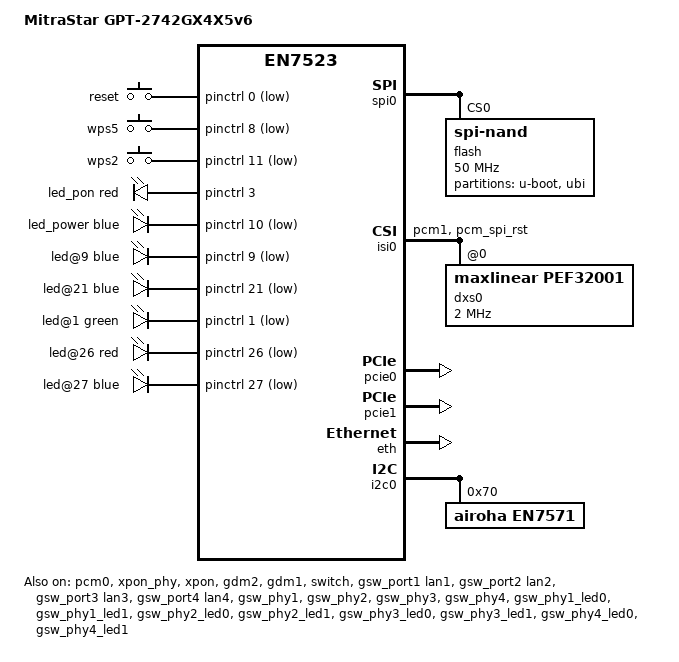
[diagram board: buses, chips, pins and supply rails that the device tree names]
/* SPDX-License-Identifier: GPL-2.0-or-later OR MIT */
/dts-v1/;

#include <dt-bindings/leds/common.h>
#include <dt-bindings/gpio/gpio.h>
#include <dt-bindings/input/input.h>
#include "en7523.dtsi"

/ {
	model = "MitraStar GPT-2742GX4X5v6";
	compatible = "mitrastar,gpt-2742gx4x5v6", "airoha,en7523";

	chosen {
		rootdisk = <&firmware>;
		bootargs = "console=ttyS0,115200 earlycon ubi.block=0,fit root=/dev/fit0 rootwait";
		stdout-path = "serial0:115200n8";
	};

	aliases {
		serial0 = &uart1;
		led-boot = &led_power;
		led-failsafe = &led_pon;
		led-upgrade = &led_pon;
		led-running = &led_power;
	};

	keys {
		compatible = "gpio-keys";

		reset {
			label = "reset";
			linux,code = <KEY_RESTART>;
			gpios = <&pinctrl 0 GPIO_ACTIVE_LOW>;
			debounce-interval = <60>;
		};

		wps5 {
			label = "wps5";
			linux,code = <KEY_WPS_BUTTON>;
			gpios = <&pinctrl 8 GPIO_ACTIVE_LOW>;
			debounce-interval = <60>;
		};

		wps2 {
			label = "wps2";
			linux,code = <KEY_WPS_BUTTON>;
			gpios = <&pinctrl 11 GPIO_ACTIVE_LOW>;
			debounce-interval = <60>;
		};
	};

	leds {
		compatible = "gpio-leds";

		// red:internet
		led_pon: led@3 {
			function = LED_FUNCTION_WAN_ONLINE;
			function-enumerator = <3>;
			color = <LED_COLOR_ID_RED>;
			gpios = <&pinctrl 3 GPIO_ACTIVE_HIGH>;
		};

		// blue:internet
		led_power: led@10 {
			function = LED_FUNCTION_WAN_ONLINE;
			function-enumerator = <10>;
			color = <LED_COLOR_ID_BLUE>;
			gpios = <&pinctrl 10 GPIO_ACTIVE_LOW>;
		};

		// blue:wlan-2g
		led@9 {
			function = LED_FUNCTION_WLAN_2GHZ;
			function-enumerator = <9>;
			color = <LED_COLOR_ID_BLUE>;
			gpios = <&pinctrl 9 GPIO_ACTIVE_LOW>;
		};

		// blue:wlan-5g
		led@21 {
			function = LED_FUNCTION_WLAN_5GHZ;
			function-enumerator = <21>;
			color = <LED_COLOR_ID_BLUE>;
			gpios = <&pinctrl 21 GPIO_ACTIVE_LOW>;
		};

		// green:fxs
		led@1 {
			function = LED_FUNCTION_ACTIVITY;
			function-enumerator = <1>;
			color = <LED_COLOR_ID_GREEN>;
			gpios = <&pinctrl 1 GPIO_ACTIVE_LOW>;
		};

		// red:fxs
		led@26 {
			function = LED_FUNCTION_ACTIVITY;
			function-enumerator = <26>;
			color = <LED_COLOR_ID_RED>;
			gpios = <&pinctrl 26 GPIO_ACTIVE_LOW>;
		};

		// blue:fxs
		led@27 {
			function = LED_FUNCTION_ACTIVITY;
			function-enumerator = <27>;
			color = <LED_COLOR_ID_BLUE>;
			gpios = <&pinctrl 27 GPIO_ACTIVE_LOW>;
		};
	};

	dxs_fxs: dxs-fxs {
		compatible = "airoha,en75xx-dxs-fxs";
		maxlinear,slic = <&dxs0>;
		airoha,pcm = <&pcm0>;
		airoha,pcm-channels = <0>;
		/* PCLK selector 3 in the existing SoC PCM control = 2.048 MHz.
		 * Edges/bit offsets follow the OEM IntelSlicInit (DXS viewpoint).
		 */
		clock-frequency = <2048000>;
		maxlinear,pcm-tx-edge = <0>;
		maxlinear,pcm-rx-edge = <1>;
		maxlinear,pcm-tx-offset = <7>;
		maxlinear,pcm-rx-offset = <1>;
		/* Register access test only; no firmware/BBD download or linefeed. */
		airoha,bringup-mode = "identify";
		firmware-name = "airoha-voice/DXS_FW_mitrastar.bin";
		maxlinear,bbd-firmware = "airoha-voice/DXS_BBD.bin";
		maxlinear,dcdc-topology = "CIBB12";
	};
};

/*
Old maping NAND
0x000000000000-0x000000080000 : "bootloader"
0x000000080000-0x0000000c0000 : "romfile"
0x0000000c0000-0x000005ac0000 : "tclinux"
0x000005ac0000-0x00000b4c0000 : "tclinux_slave"
0x00000b4c0000-0x00000b500000 : "second_romfile"
0x00000b500000-0x00000c200000 : "data"
0x00000c200000-0x00000eb80000 : "app"
0x00000eb80000-0x00000edc0000 : "reservearea_backup" => art (0x240000)
0x00000edc0000-0x00000f000000 : "reservearea"

New Maping:
	0x00000000-0x00100000 : BL1 + FIP (BL2 + BL31 + BL33)
	0x00100000-           : UBI (uboot env{1,2} + ART (misc part) + fit (firmware))
*/
&spi0 {
	flash@0 {
		compatible = "spi-nand";
		reg = <0>;
		spi-max-frequency = <50000000>;

		partitions {
			compatible = "fixed-partitions";
			#address-cells = <1>;
			#size-cells = <1>;

			partition@0 {
				label = "u-boot";
				reg = <0x000000 0x100000>;
				read-only;
			};

			partition@100000 {
				label = "ubi";
				compatible = "linux,ubi";
				reg = <0x100000 0x000000>;

				volumes {
					ubi-volume-ubootenv {
						volname = "ubootenv";
						nvmem-layout {
							compatible = "u-boot,env-redundant-bool";
							env-size = <0x4000>;
						};
					};

					ubi-volume-ubootenv2 {
						volname = "ubootenv2";
						nvmem-layout {
							compatible = "u-boot,env-redundant-bool";
							env-size = <0x4000>;

							macaddr: ethaddr {
								#nvmem-cell-cells = <1>;
							};
						};
					};

					ubi-volume-art {
						volname = "art";
						read-only;

						nvmem-layout {
							compatible = "fixed-layout";
							#address-cells = <1>;
							#size-cells = <1>;

							mt76_eeprom_2g: eeprom@0 {
								reg = <0x000000 0x1000>;
							};

							mt76_eeprom_5g: eeprom@20000 {
								reg = <0x020000 0x1000>;
							};

							en7571_bob: bob@140477 {
								reg = <0x140477 0x200>;
							};
						};
					};

					firmware: ubi-volume-firmware {
						volname = "fit";
						compatible = "denx,uimage";
					};
				};
			};
		};
	};
};

/* DXS uses CSI over the PCM wrapper; the SoC nodes already exist. */
&pinctrl {
	mitra_dxs_csi_pins: mitra-dxs-csi-pins {
		/* OEM CSI, devNum=1: PCM1 plus the dedicated reset pad.
		 * Do not request PCM2/GPIO4..7, used by all four swpX_led1.
		 */
		bus-mux {
			function = "pcm";
			groups = "pcm1";
		};
		reset-mux {
			function = "pcm_spi";
			groups = "pcm_spi_rst";
		};
	};
};

&pcm0 {
	/* CSI owns the shared pins. Do not select the default pcm1 state. */
	/delete-property/ pinctrl-names;
	/delete-property/ pinctrl-0;

	airoha,dma-channel-mask = <0x01>;
	/* OEM: DXS RX byte slot 3, TX byte slot 4 -> SoC TX/RX 24/32 bits. */
	airoha,tx-slot-config = <0x10301018 0x10501040 0x10701060 0x10901080>;
	airoha,rx-slot-config = <0x10301020 0x10501040 0x10701060 0x10901080>;
	status = "okay";
};

&zsi0 {
	status = "disabled";
};

&isi0 {
	compatible = "airoha,en7523-csi-spi";
	/* Polling, one chip: do not claim INT or the optional CS1 pads.
	 * INT overlaps the PON LED; CS1 overlaps the power LED in this pinctrl.
	 */
	pinctrl-0 = <&mitra_dxs_csi_pins>;
	status = "okay";

	dxs0: slic@0 {
		compatible = "maxlinear,pef32001";
		reg = <0>;
		spi-max-frequency = <2000000>;
		spi-cpol;
		spi-cpha;
		/* No reset GPIO/polarity inferred from the OEM logical GPIO IDs. */
		reset-interval-ms = <10>;
	};
};

&pcie0 {
	status = "okay";

	pcie@0,0 {
		reg = <0x00000000 0 0 0 0>;
		#address-cells = <3>;
		#size-cells = <2>;

		mt7915@0,0 {
			reg = <0x0000 0 0 0 0>;
			#address-cells = <1>;
			#size-cells = <0>;
			nvmem-cells = <&mt76_eeprom_2g>;
			nvmem-cell-names = "eeprom";
			airoha,npu = <&npu>;
			airoha,eth = <&eth>;

			/* 2.4Ghz */
			band@0 {
				reg = <0>;
				nvmem-cells = <&macaddr 0>;
				nvmem-cell-names = "mac-address";
			};
		};
	};
};

&pcie1 {
	status = "okay";

	pcie@1,0 {
		reg = <0x00000800 0 0 0 0>;
		#address-cells = <3>;
		#size-cells = <2>;

		/* 5Ghz */
		mt7915@0,0 {
			reg = <0x0000 0 0 0 0>;
			#address-cells = <1>;
			#size-cells = <0>;
			nvmem-cells = <&mt76_eeprom_5g>;
			nvmem-cell-names = "eeprom";
			airoha,npu = <&npu>;
			airoha,eth = <&eth>;

			band@0 {
				reg = <0>;
				nvmem-cells = <&macaddr 2>;
				nvmem-cell-names = "mac-address";
			};
		};
	};
};

&eth {
	status = "okay";
};

&i2c0 {
	status = "okay";

	en7571: lddla@70 {
		compatible = "airoha,en7571";
		reg = <0x70>;

		nvmem-cells = <&en7571_bob>;
		nvmem-cell-names = "calibration";

		#optical-frontend-cells = <0>;
	};
};

&xpon_phy {
	status = "okay";
};

&xpon {
	status = "okay";
	airoha,gpon-serial-from-mac;
	omci-vendor-id = "MSTC";

	optical-frontends = <&en7571>;
	optical-frontend-names = "pon";
};

&gdm2 {
	status = "okay";
	phy-mode = "internal";

	nvmem-cells = <&macaddr 0>;
	nvmem-cell-names = "mac-address";

	/delete-property/ pcs-handle;

	airoha,xpon-managed;
	openwrt,netdev-name = "pon0";
};

&gdm1 {
	status = "okay";
	nvmem-cells = <&macaddr 0>;
	nvmem-cell-names = "mac-address";
};

&switch {
	status = "okay";
};

&gsw_port1 {
	label = "lan1";
	status = "okay";
};

&gsw_port2 {
	label = "lan2";
	status = "okay";
};

&gsw_port3 {
	label = "lan3";
	status = "okay";
};

&gsw_port4 {
	label = "lan4";
	status = "okay";
};

&gsw_port6 {
	nvmem-cells = <&macaddr 0>;
	nvmem-cell-names = "mac-address";
};

&gsw_phy1 {
	status = "okay";
};

&gsw_phy2 {
	status = "okay";
};

&gsw_phy3 {
	status = "okay";
};

&gsw_phy4 {
	status = "okay";
};

&gsw_phy1_led0 {
	status = "okay";
	color = <LED_COLOR_ID_GREEN>;
};

&gsw_phy1_led1 {
	status = "okay";
	color = <LED_COLOR_ID_YELLOW>;
};

&gsw_phy2_led0 {
	status = "okay";
	color = <LED_COLOR_ID_GREEN>;
};

&gsw_phy2_led1 {
	status = "okay";
	color = <LED_COLOR_ID_YELLOW>;
};

&gsw_phy3_led0 {
	status = "okay";
	color = <LED_COLOR_ID_GREEN>;
};

&gsw_phy3_led1 {
	status = "okay";
	color = <LED_COLOR_ID_YELLOW>;
};

&gsw_phy4_led0 {
	status = "okay";
	color = <LED_COLOR_ID_GREEN>;
};

&gsw_phy4_led1 {
	status = "okay";
	color = <LED_COLOR_ID_YELLOW>;
};

&swp1_led0 {
	mux {
		pins = "gpio25";
	};
};

&swp2_led0 {
	mux {
		pins = "gpio24";
	};
};

&swp3_led0 {
	mux {
		pins = "gpio23";
	};
};

&swp4_led0 {
	mux {
		pins = "gpio22";
	};
};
